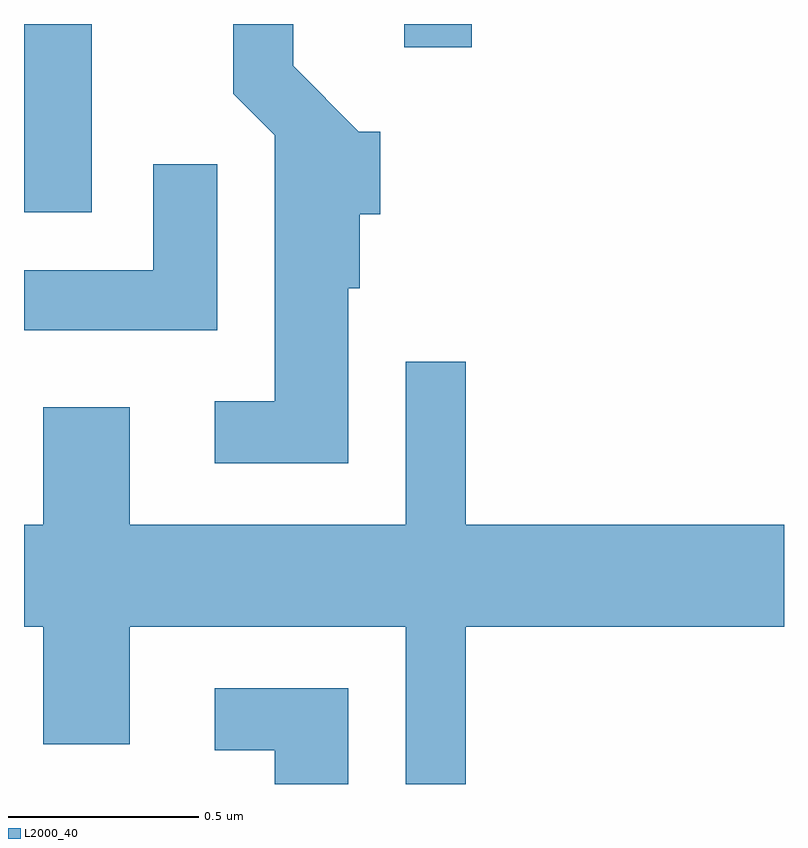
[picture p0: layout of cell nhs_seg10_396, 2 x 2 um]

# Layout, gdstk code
import gdstk
lib = gdstk.Library(unit=1e-6, precision=1e-09)
def R(c, l, rs):  # rectangles x0, y0, x1, y1
    for r in rs: c.add(gdstk.rectangle(r[:2], r[2:], *l))
def P(c, l, *ps):  # polygons
    for p in ps: c.add(gdstk.Polygon(p, *l))
L2000_40 = (2000, 40)

nhs_seg10_396 = lib.new_cell('nhs_seg10_396')
R(nhs_seg10_396, L2000_40, [(187.611,2206.026,187.789,2206.522), (188.611,2206.461,188.789,2206.522)])
P(nhs_seg10_396, L2000_40, [(188.464,2205.826),(188.494,2205.826),(188.494,2206.021),(188.549,2206.021),(188.549,2206.239),(188.492,2206.239),(188.319,2206.412),(188.319,2206.522),(188.161,2206.522),(188.161,2206.339),(188.271,2206.229),(188.271,2205.529),(188.113,2205.529),(188.113,2205.366),(188.464,2205.366)],
  [(188.119,2206.153),(187.951,2206.153),(187.951,2205.874),(187.611,2205.874),(187.611,2205.716),(188.119,2205.716)],
  [(188.774,2204.936),(189.611,2204.936),(189.611,2205.204),(188.774,2205.204),(188.774,2205.633),(188.616,2205.633),(188.616,2205.204),(187.889,2205.204),(187.889,2205.514),(187.661,2205.514),(187.661,2205.204),(187.611,2205.204),(187.611,2204.936),(187.661,2204.936),(187.661,2204.626),(187.889,2204.626),(187.889,2204.936),(188.616,2204.936),(188.616,2204.522),(188.774,2204.522)],
  [(188.464,2204.774),(188.113,2204.774),(188.113,2204.611),(188.271,2204.611),(188.271,2204.522),(188.464,2204.522)])

lib.write_gds('nhs_seg10_396.gds')
